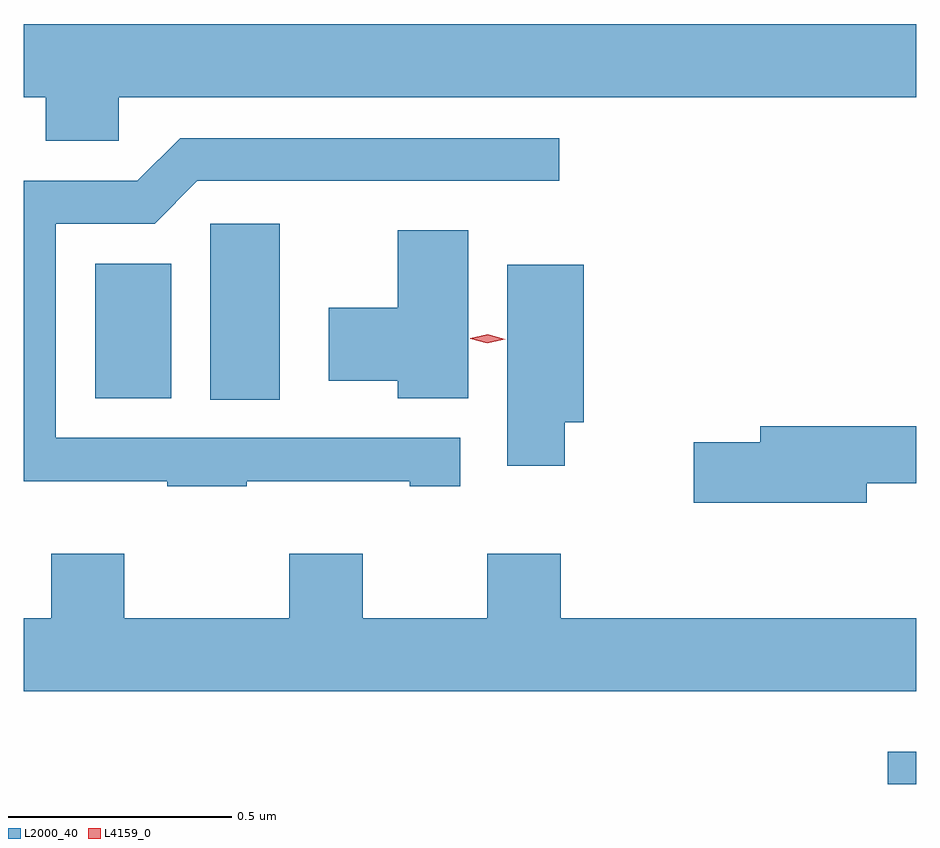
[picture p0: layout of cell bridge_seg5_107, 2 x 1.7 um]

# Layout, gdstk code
import gdstk
lib = gdstk.Library(unit=1e-6, precision=1e-09)
def R(c, l, rs):  # rectangles x0, y0, x1, y1
    for r in rs: c.add(gdstk.rectangle(r[:2], r[2:], *l))
def P(c, l, *ps):  # polygons
    for p in ps: c.add(gdstk.Polygon(p, *l))
L2000_40 = (2000, 40)
L4159_0 = (4159, 0)

bridge_seg5_107 = lib.new_cell('bridge_seg5_107')
R(bridge_seg5_107, L2000_40, [(579.801,876.532,579.864,876.604), (578.282,877.393,578.437,877.788), (578.024,877.397,578.194,877.699)])
P(bridge_seg5_107, L2000_40, [(578.076,878.072),(579.864,878.072),(579.864,878.236),(577.864,878.236),(577.864,878.072),(577.913,878.072),(577.913,877.974),(578.076,877.974)],
  [(578.363,877.211),(578.729,877.211),(578.729,877.2),(578.842,877.2),(578.842,877.308),(577.935,877.308),(577.935,877.788),(578.157,877.788),(578.253,877.884),(579.064,877.884),(579.064,877.98),(578.214,877.98),(578.118,877.884),(577.864,877.884),(577.864,877.211),(578.185,877.211),(578.185,877.2),(578.363,877.2)],
  [(578.86,877.774),(578.702,877.774),(578.702,877.6),(578.547,877.6),(578.547,877.436),(578.702,877.436),(578.702,877.397),(578.86,877.397)],
  [(579.076,877.343),(579.119,877.343),(579.119,877.696),(578.948,877.696),(578.948,877.245),(579.076,877.245)],
  [(579.754,877.206),(579.864,877.206),(579.864,877.334),(579.515,877.334),(579.515,877.298),(579.366,877.298),(579.366,877.163),(579.754,877.163)],
  [(579.864,876.904),(579.067,876.904),(579.067,877.048),(578.903,877.048),(578.903,876.904),(578.623,876.904),(578.623,877.048),(578.459,877.048),(578.459,876.904),(578.089,876.904),(578.089,877.048),(577.925,877.048),(577.925,876.904),(577.864,876.904),(577.864,876.74),(579.864,876.74)])
P(bridge_seg5_107, L4159_0, [(578.903,877.52),(578.865,877.53),(578.864,877.53),(578.865,877.531),(578.904,877.54),(578.943,877.529),(578.943,877.529),(578.943,877.529)])

lib.write_gds('bridge_seg5_107.gds')
